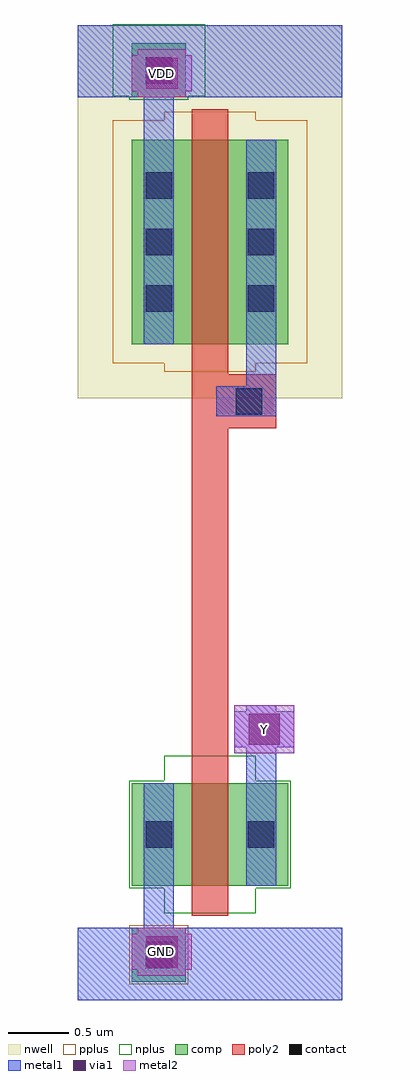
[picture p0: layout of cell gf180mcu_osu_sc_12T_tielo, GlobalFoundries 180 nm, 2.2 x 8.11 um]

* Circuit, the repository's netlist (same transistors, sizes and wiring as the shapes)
.inc "../../char/techfiles/design.hspice"
.lib "../../char/techfiles/sm141064.hspice" typical

.GLOBAL VDD
.GLOBAL GND

.option scale=0.05u

.subckt gf180mcu_osu_sc_12T_tielo Y
X0 a_19_11 a_19_11 VDD VDD pmos_3p3 w=34 l=6
X1 Y a_19_11 GND GND nmos_3p3 w=17 l=6
.ends

** hspice subcircuit dictionary

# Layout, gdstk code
import gdstk
lib = gdstk.Library(unit=1e-6, precision=1e-09)
def R(c, l, rs):  # rectangles x0, y0, x1, y1
    for r in rs: c.add(gdstk.rectangle(r[:2], r[2:], *l))
def A(c, l, x, y, w, h, nx, ny, dx, dy):  # array of equal rectangles
    R(c, l, [(x+i*dx, y+j*dy, x+i*dx+w, y+j*dy+h) for i in range(nx) for j in range(ny)])
nwell = (21, 0)
comp = (22, 0)
poly2 = (30, 0)
pplus = (31, 0)
nplus = (32, 0)
contact = (33, 0)
metal1 = (34, 0)
via1 = (35, 0)
metal2 = (36, 0)

gf180mcu_osu_sc_12t_tiel = lib.new_cell('gf180mcu_osu_sc_12T_tielo')
R(gf180mcu_osu_sc_12t_tiel, nwell, [(0,4.85,2.2,7.95)])
R(gf180mcu_osu_sc_12t_tiel, comp, [(0.45,0,0.9,0.45), (0.45,0.8,1.75,1.65), (0.45,5.3,1.75,7), (0.45,7.35,0.9,7.8)])
R(gf180mcu_osu_sc_12t_tiel, poly2, [(0.95,0.55,1.25,4.6), (0.95,4.6,1.65,5.05), (0.95,5.05,1.25,7.25)])
R(gf180mcu_osu_sc_12t_tiel, pplus, [(0.43,-0.02,0.92,0.47), (0.72,5.07,1.48,5.14), (0.29,5.14,1.91,7.16), (0.72,7.16,1.48,7.23)])
R(gf180mcu_osu_sc_12t_tiel, nplus, [(0.72,0.57,1.48,0.78), (0.43,0.78,1.77,1.67), (0.72,1.67,1.48,1.88), (0.43,7.33,0.92,7.36), (0.29,7.36,1.06,7.96)])
A(gf180mcu_osu_sc_12t_tiel, contact, 0.565, 5.57, 0.22, 0.22, 1, 3, 0, 0.47)
A(gf180mcu_osu_sc_12t_tiel, contact, 1.415, 5.57, 0.22, 0.22, 1, 3, 0, 0.47)
R(gf180mcu_osu_sc_12t_tiel, contact, [(0.565,0.115,0.785,0.335), (0.565,1.115,0.785,1.335), (1.415,1.115,1.635,1.335), (1.315,4.715,1.535,4.935), (0.565,7.465,0.785,7.685)])
R(gf180mcu_osu_sc_12t_tiel, metal1, [(0,-0.15,2.2,0.45), (0.55,0.45,0.8,1.65), (1.4,0.8,1.65,1.95), (1.3,1.95,1.8,2.25), (1.4,2.25,1.65,2.3), (1.15,4.7,1.65,4.95), (1.4,4.95,1.65,7), (0.55,5.3,0.8,7.35), (0,7.35,2.2,7.95)])
R(gf180mcu_osu_sc_12t_tiel, via1, [(0.57,0.12,0.83,0.38), (1.42,1.97,1.68,2.23), (0.57,7.42,0.83,7.68)])
R(gf180mcu_osu_sc_12t_tiel, metal2, [(0.5,0.05,0.9,0.1), (0.45,0.1,0.95,0.4), (0.5,0.4,0.9,0.45), (1.3,1.9,1.8,2.3), (0.5,7.35,0.9,7.4), (0.45,7.4,0.95,7.7), (0.5,7.7,0.9,7.75)])
gf180mcu_osu_sc_12t_tiel.add(gdstk.Label('GND', (0.7,0.25), layer=36, texttype=0))
gf180mcu_osu_sc_12t_tiel.add(gdstk.Label('VDD', (0.7,7.55), layer=36, texttype=0))
gf180mcu_osu_sc_12t_tiel.add(gdstk.Label('Y', (1.55,2.1), layer=36, texttype=10))

lib.write_gds('gf180mcu_osu_sc_12T_tielo.gds')
